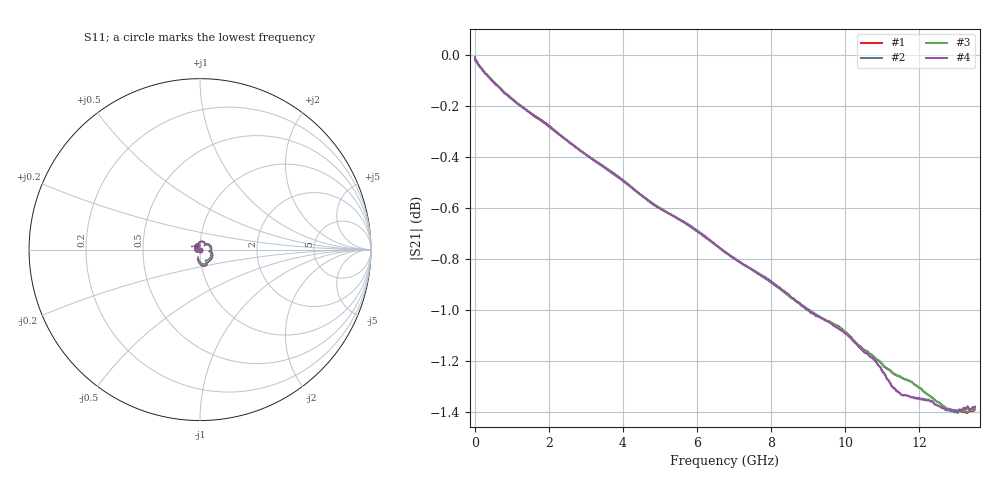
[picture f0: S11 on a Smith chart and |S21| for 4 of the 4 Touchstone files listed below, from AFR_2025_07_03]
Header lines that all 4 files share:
!Keysight Technologies,N5231B,MY57181281,A.17.25.05
!Automatic Fixture Removal (AFR)
!S2P File: Measurements: S11,S21,S12,S22:
# MHz S  RI  R 50
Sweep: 10 MHz to 13.5 GHz
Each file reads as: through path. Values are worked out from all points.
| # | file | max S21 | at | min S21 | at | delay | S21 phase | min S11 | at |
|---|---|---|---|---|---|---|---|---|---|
| 1 | SFF_8644_Test_Fixture_A1.s2p | -0.01 dB | 10 MHz | -1.4 dB | 13.27 GHz | 277 ps | 46 deg at 6.76 GHz | -66.0 dB | 10 MHz |
| 2 | SFF_8644_Test_Fixture_A2.s2p | -0.01 dB | 10 MHz | -1.4 dB | 13.03 GHz | 276 ps | 46 deg at 6.76 GHz | -65.7 dB | 10 MHz |
| 3 | SFF_8644_Test_Fixture_B1.s2p | -0.01 dB | 10 MHz | -1.4 dB | 13.27 GHz | 277 ps | 46 deg at 6.76 GHz | -64.6 dB | 10 MHz |
| 4 | SFF_8644_Test_Fixture_B2.s2p | -0.01 dB | 10 MHz | -1.4 dB | 13.02 GHz | 276 ps | 46 deg at 6.76 GHz | -65.2 dB | 10 MHz |
